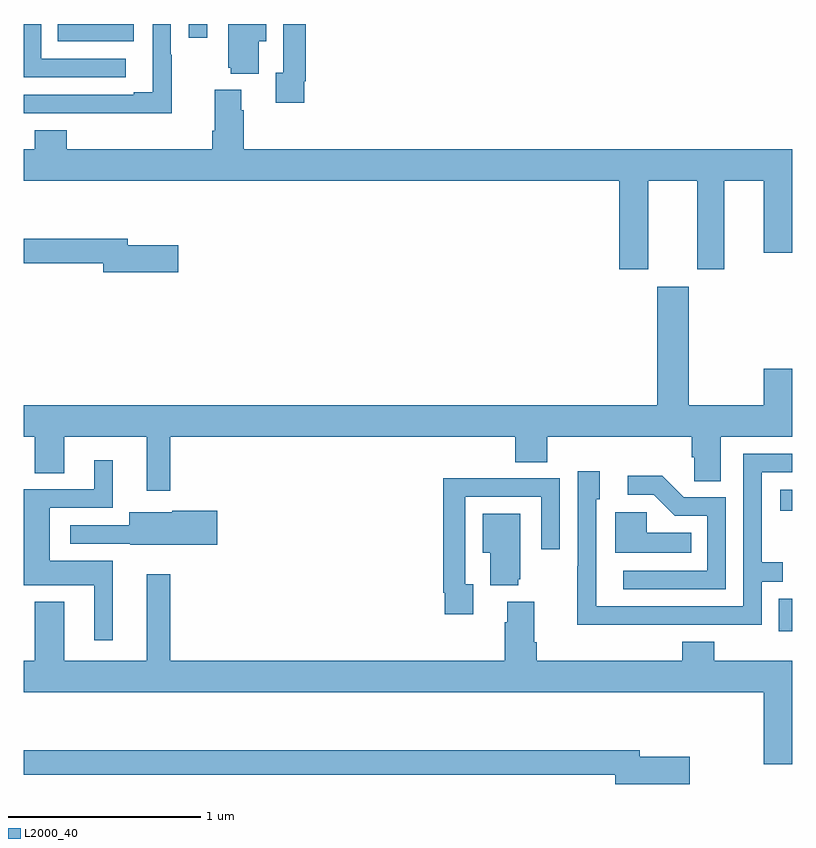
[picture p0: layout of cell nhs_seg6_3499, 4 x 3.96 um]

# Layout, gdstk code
import gdstk
lib = gdstk.Library(unit=1e-6, precision=1e-09)
def R(c, l, rs):  # rectangles x0, y0, x1, y1
    for r in rs: c.add(gdstk.rectangle(r[:2], r[2:], *l))
def P(c, l, *ps):  # polygons
    for p in ps: c.add(gdstk.Polygon(p, *l))
L2000_40 = (2000, 40)

nhs_seg6_3499 = lib.new_cell('nhs_seg6_3499')
R(nhs_seg6_3499, L2000_40, [(320.931,930.339,321,930.507), (320.937,930.965,321,931.075), (317.176,933.41,317.572,933.5), (317.859,933.429,317.955,933.5)])
P(nhs_seg6_3499, L2000_40, [(317.769,933.341),(317.766,933.341),(317.766,933.5),(317.67,933.5),(317.67,933.145),(317.573,933.145),(317.573,933.132),(317,933.132),(317,933.036),(317.305,933.036),(317.305,933.035),(317.769,933.035)],
  [(317.53,933.318),(317.091,933.318),(317.091,933.5),(317,933.5),(317,933.222),(317.53,933.222)],
  [(318.223,933.41),(318.262,933.41),(318.262,933.5),(318.065,933.5),(318.065,933.273),(318.077,933.273),(318.077,933.242),(318.223,933.242)],
  [(318.46,933.202),(318.467,933.202),(318.467,933.5),(318.351,933.5),(318.351,933.246),(318.311,933.246),(318.311,933.09),(318.46,933.09)],
  [(320.251,932.684),(320.507,932.684),(320.507,932.223),(320.647,932.223),(320.647,932.684),(320.852,932.684),(320.852,932.31),(321,932.31),(321,932.848),(318.146,932.848),(318.146,933.05),(318.133,933.05),(318.133,933.157),(317.993,933.157),(317.993,932.944),(317.981,932.944),(317.981,932.848),(317.222,932.848),(317.222,932.947),(317.057,932.947),(317.057,932.848),(317,932.848),(317,932.684),(320.099,932.684),(320.099,932.223),(320.251,932.223)],
  [(317.803,932.349),(317.542,932.349),(317.542,932.383),(317,932.383),(317,932.254),(317.414,932.254),(317.414,932.207),(317.803,932.207)],
  [(317.761,931.352),(319.559,931.352),(319.559,931.219),(319.724,931.219),(319.724,931.352),(320.477,931.352),(320.477,931.243),(320.49,931.243),(320.49,931.12),(320.629,931.12),(320.629,931.352),(321,931.352),(321,931.705),(320.852,931.705),(320.852,931.516),(320.461,931.516),(320.461,932.131),(320.297,932.131),(320.297,931.516),(317,931.516),(317,931.352),(317.057,931.352),(317.057,931.162),(317.209,931.162),(317.209,931.352),(317.639,931.352),(317.639,931.071),(317.761,931.071)],
  [(320.345,930.372),(320.841,930.372),(320.841,930.597),(320.951,930.597),(320.951,930.698),(320.841,930.698),(320.841,931.167),(321,931.167),(321,931.263),(320.745,931.263),(320.745,930.468),(319.981,930.468),(319.981,930.701),(319.98,930.701),(319.98,931.026),(319.999,931.026),(319.999,931.171),(319.884,931.171),(319.884,930.677),(319.882,930.677),(319.882,930.371),(320.345,930.371)],
  [(317.464,930.706),(317.134,930.706),(317.134,930.981),(317.464,930.981),(317.464,931.228),(317.366,931.228),(317.366,931.077),(317,931.077),(317,930.578),(317.366,930.578),(317.366,930.291),(317.464,930.291)],
  [(320.655,931.035),(320.436,931.035),(320.323,931.148),(320.145,931.148),(320.145,931.05),(320.279,931.05),(320.39,930.939),(320.559,930.939),(320.559,930.654),(320.121,930.654),(320.121,930.558),(320.655,930.558)],
  [(319.339,930.582),(319.299,930.582),(319.299,931.038),(319.695,931.038),(319.695,930.765),(319.791,930.765),(319.791,931.134),(319.475,931.134),(319.475,931.136),(319.183,931.136),(319.183,930.538),(319.191,930.538),(319.191,930.426),(319.339,930.426)],
  [(318.007,930.966),(317.772,930.966),(317.772,930.958),(317.549,930.958),(317.549,930.891),(317.241,930.891),(317.241,930.795),(317.553,930.795),(317.553,930.788),(318.007,930.788)],
  [(320.474,930.85),(320.244,930.85),(320.244,930.958),(320.078,930.958),(320.078,930.746),(320.474,930.746)],
  [(319.574,930.609),(319.585,930.609),(319.585,930.949),(319.388,930.949),(319.388,930.746),(319.427,930.746),(319.427,930.578),(319.574,930.578)],
  [(321,930.184),(320.594,930.184),(320.594,930.283),(320.429,930.283),(320.429,930.184),(319.67,930.184),(319.67,930.28),(319.657,930.28),(319.657,930.493),(319.517,930.493),(319.517,930.386),(319.505,930.386),(319.505,930.184),(317.761,930.184),(317.761,930.634),(317.639,930.634),(317.639,930.184),(317.209,930.184),(317.209,930.493),(317.057,930.493),(317.057,930.184),(317,930.184),(317,930.02),(320.852,930.02),(320.852,929.646),(321,929.646)],
  [(320.467,929.685),(320.206,929.685),(320.206,929.719),(317,929.719),(317,929.59),(320.078,929.59),(320.078,929.543),(320.467,929.543)])

lib.write_gds('nhs_seg6_3499.gds')
